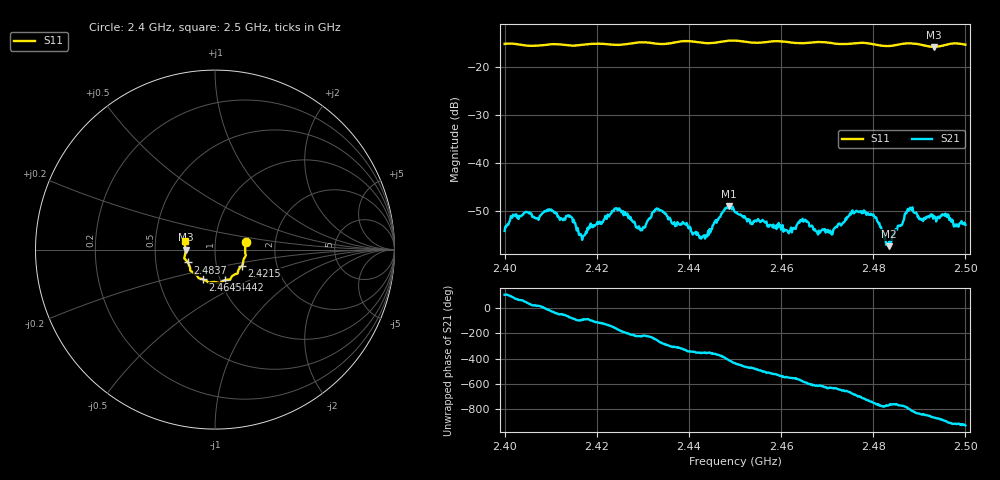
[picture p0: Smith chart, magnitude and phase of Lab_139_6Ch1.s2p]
# Hz S RI R 50
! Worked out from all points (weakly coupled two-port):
!   601 points, 2.4 GHz to 2.5 GHz, reference 50 ohm
!   highest |S21| = -49.09 dB at 2.4487 GHz (marker M1); lowest = -57.4 dB at 2.4833 GHz (marker M2)
!   lowest |S11| = -15.7 dB at 2.4932 GHz (marker M3), VSWR 1.39, Z = 35.9 - j0.0431 ohm
!   |S11| at or under -10 dB: start of sweep to end of sweep
!   S12 and S22 are empty: the file has one direction only
!   S11 on the Smith chart (normalised r, x): 2.4 GHz: 1.41, +0.12; 2.4215 GHz: 1.33, -0.25; 2.4442 GHz: 1.05, -0.37; 2.4645 GHz: 0.83, -0.29; 2.4837 GHz: 0.73, -0.11; 2.5 GHz: 0.71, +0.07
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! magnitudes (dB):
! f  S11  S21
! 2.4 GHz  -15.1  -54.2
! 2.4018 GHz  -15.1  -50.8
! 2.4097 GHz  -15.2  -49.7
! 2.4142 GHz  -15.5  -51.0
! 2.4167 GHz  -15.3  -55.2
! 2.4215 GHz  -15.1  -52.0
! 2.4245 GHz  -15.3  -49.9
! 2.4298 GHz  -14.8  -54.1
! 2.4333 GHz  -15.1  -49.6
! 2.4442 GHz  -15.0  -54.2
! 2.4487 GHz  -14.4  -49.1
! 2.45 GHz  -14.4  -50.3
! 2.4613 GHz  -14.7  -54.2
! 2.4645 GHz  -15.0  -52.1
! 2.4667 GHz  -14.8  -53.1
! 2.4708 GHz  -14.9  -54.8
! 2.4778 GHz  -14.9  -50.5
! 2.4833 GHz  -15.6  -57.4
! 2.4837 GHz  -15.5  -56.9
! 2.488 GHz  -15.0  -49.4
! 2.4932 GHz  -15.7  -51.1
! 2.5 GHz  -15.3  -52.9
